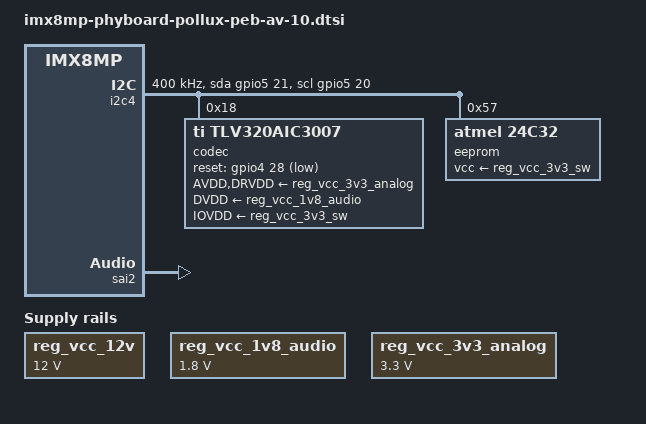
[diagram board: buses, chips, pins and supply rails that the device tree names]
// SPDX-License-Identifier: GPL-2.0-or-later OR MIT
/*
 * Copyright (C) 2025 PHYTEC Messtechnik GmbH
 */

#include <dt-bindings/clock/imx8mp-clock.h>
#include <dt-bindings/gpio/gpio.h>
#include "imx8mp-pinfunc.h"

&{/} {
	backlight_lvds0: backlight0 {
		compatible = "pwm-backlight";
		pinctrl-0 = <&pinctrl_lvds0>;
		pinctrl-names = "default";
		power-supply = <&reg_vcc_12v>;
		status = "disabled";
	};

	panel_lvds0: panel-lvds0 {
		backlight = <&backlight_lvds0>;
		power-supply = <&reg_vcc_3v3_sw>;
		status = "disabled";

		port {
			panel0_in: endpoint {
				remote-endpoint = <&ldb_lvds_ch0>;
			};
		};
	};

	reg_vcc_12v: regulator-12v {
		compatible = "regulator-fixed";
		regulator-always-on;
		regulator-boot-on;
		regulator-max-microvolt = <12000000>;
		regulator-min-microvolt = <12000000>;
		regulator-name = "VCC_12V";
	};

	reg_vcc_1v8_audio: regulator-1v8 {
		compatible = "regulator-fixed";
		regulator-always-on;
		regulator-boot-on;
		regulator-max-microvolt = <1800000>;
		regulator-min-microvolt = <1800000>;
		regulator-name = "VCC_1V8_Audio";
	};

	reg_vcc_3v3_analog: regulator-3v3 {
		compatible = "regulator-fixed";
		regulator-always-on;
		regulator-boot-on;
		regulator-max-microvolt = <3300000>;
		regulator-min-microvolt = <3300000>;
		regulator-name = "VCC_3V3_Analog";
	};

	sound {
		compatible = "simple-audio-card";
		simple-audio-card,name = "snd-peb-av-10";
		simple-audio-card,format = "i2s";
		simple-audio-card,bitclock-master = <&dailink_master>;
		simple-audio-card,frame-master = <&dailink_master>;
		simple-audio-card,mclk-fs = <32>;
		simple-audio-card,widgets =
			"Line", "Line In",
			"Speaker", "Speaker",
			"Microphone", "Microphone Jack",
			"Headphone", "Headphone Jack";
		simple-audio-card,routing =
			"Speaker", "SPOP",
			"Speaker", "SPOM",
			"Headphone Jack", "HPLOUT",
			"Headphone Jack", "HPROUT",
			"LINE1L", "Line In",
			"LINE1R", "Line In",
			"MIC3R", "Microphone Jack",
			"Microphone Jack", "Mic Bias";

		simple-audio-card,cpu {
			sound-dai = <&sai2>;
		};

		dailink_master: simple-audio-card,codec {
			sound-dai = <&codec>;
			clocks = <&clk IMX8MP_CLK_SAI2>;
		};
	};
};

&i2c4 {
	clock-frequency = <400000>;
	pinctrl-0 = <&pinctrl_i2c4>;
	pinctrl-1 = <&pinctrl_i2c4_gpio>;
	pinctrl-names = "default", "gpio";
	scl-gpios = <&gpio5 20 (GPIO_ACTIVE_HIGH | GPIO_OPEN_DRAIN)>;
	sda-gpios = <&gpio5 21 (GPIO_ACTIVE_HIGH | GPIO_OPEN_DRAIN)>;
	#address-cells = <1>;
	#size-cells = <0>;
	status = "okay";

	codec: codec@18 {
		compatible = "ti,tlv320aic3007";
		reg = <0x18>;
		pinctrl-0 = <&pinctrl_tlv320>;
		pinctrl-names = "default";
		#sound-dai-cells = <0>;
		reset-gpios = <&gpio4 28 GPIO_ACTIVE_LOW>;
		ai3x-gpio-func = <0xd 0x0>;
		ai3x-micbias-vg = <2>;
		AVDD-supply = <&reg_vcc_3v3_analog>;
		DRVDD-supply = <&reg_vcc_3v3_analog>;
		DVDD-supply = <&reg_vcc_1v8_audio>;
		IOVDD-supply = <&reg_vcc_3v3_sw>;
	};

	eeprom@57 {
		compatible = "atmel,24c32";
		reg = <0x57>;
		pagesize = <32>;
		vcc-supply = <&reg_vcc_3v3_sw>;
	};
};

&ldb_lvds_ch0 {
	remote-endpoint = <&panel0_in>;
};

&pwm4 {
	pinctrl-0 = <&pinctrl_pwm4>;
	pinctrl-names = "default";
};

&sai2 {
	pinctrl-0 = <&pinctrl_sai2>;
	pinctrl-names = "default";
	assigned-clocks = <&clk IMX8MP_CLK_SAI2>;
	assigned-clock-parents = <&clk IMX8MP_AUDIO_PLL1_OUT>;
	assigned-clock-rates = <12288000>;
	clocks = <&audio_blk_ctrl IMX8MP_CLK_AUDIOMIX_SAI2_IPG>,
		 <&clk IMX8MP_CLK_DUMMY>,
		 <&audio_blk_ctrl IMX8MP_CLK_AUDIOMIX_SAI2_MCLK1>,
		 <&clk IMX8MP_CLK_DUMMY>,
		 <&clk IMX8MP_CLK_DUMMY>,
		 <&clk IMX8MP_AUDIO_PLL1_OUT>,
		 <&clk IMX8MP_AUDIO_PLL2_OUT>;
	clock-names = "bus", "mclk0", "mclk1", "mclk2", "mclk3", "pll8k",
		      "pll11k";
	#sound-dai-cells = <0>;
	fsl,sai-mclk-direction-output;
	fsl,sai-synchronous-rx;
	status = "okay";
};

&iomuxc {
	pinctrl_i2c4: i2c4grp {
		fsl,pins = <
			MX8MP_IOMUXC_I2C4_SCL__I2C4_SCL		0x400001c2
			MX8MP_IOMUXC_I2C4_SDA__I2C4_SDA		0x400001c2
		>;
	};

	pinctrl_i2c4_gpio: i2c4gpiogrp {
		fsl,pins = <
			MX8MP_IOMUXC_I2C4_SCL__GPIO5_IO20	0x1e2
			MX8MP_IOMUXC_I2C4_SDA__GPIO5_IO21	0x1e2
		>;
	};

	pinctrl_lvds0: lvds0grp {
		fsl,pins = <
			MX8MP_IOMUXC_SAI3_TXD__GPIO5_IO01	0x12
		>;
	};

	pinctrl_pwm4: pwm4grp {
		fsl,pins = <
			MX8MP_IOMUXC_SAI3_MCLK__PWM4_OUT	0x12
		>;
	};

	pinctrl_sai2: sai2grp {
		fsl,pins = <
			MX8MP_IOMUXC_SAI2_MCLK__AUDIOMIX_SAI2_MCLK	0xd6
			MX8MP_IOMUXC_SAI2_RXFS__AUDIOMIX_SAI2_RX_SYNC	0xd6
			MX8MP_IOMUXC_SAI2_TXC__AUDIOMIX_SAI2_TX_BCLK	0xd6
			MX8MP_IOMUXC_SAI2_TXD0__AUDIOMIX_SAI2_TX_DATA00	0xd6
			MX8MP_IOMUXC_SAI2_RXD0__AUDIOMIX_SAI2_RX_DATA00 0xd6
		>;
	};

	pinctrl_tlv320: tlv320grp {
		fsl,pins = <
			MX8MP_IOMUXC_SAI3_RXFS__GPIO4_IO28	0x16
			MX8MP_IOMUXC_SAI2_RXC__GPIO4_IO22	0x16
		>;
	};
};
